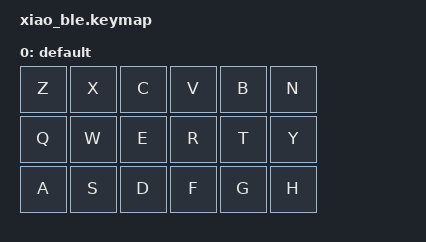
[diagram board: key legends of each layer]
#include <behaviors.dtsi>
#include <dt-bindings/zmk/keys.h>

/* Uncomment this block if using an encoder */
//&encoder {
//    status = "okay";
//};

/ {
    keymap {
        compatible = "zmk,keymap";

        default {
            bindings = <
                &kp Z &kp X &kp C &kp V &kp B &kp N
                &kp Q &kp W &kp E &kp R &kp T &kp Y
                &kp A &kp S &kp D &kp F &kp G &kp H
            >;
        };
    };
};
